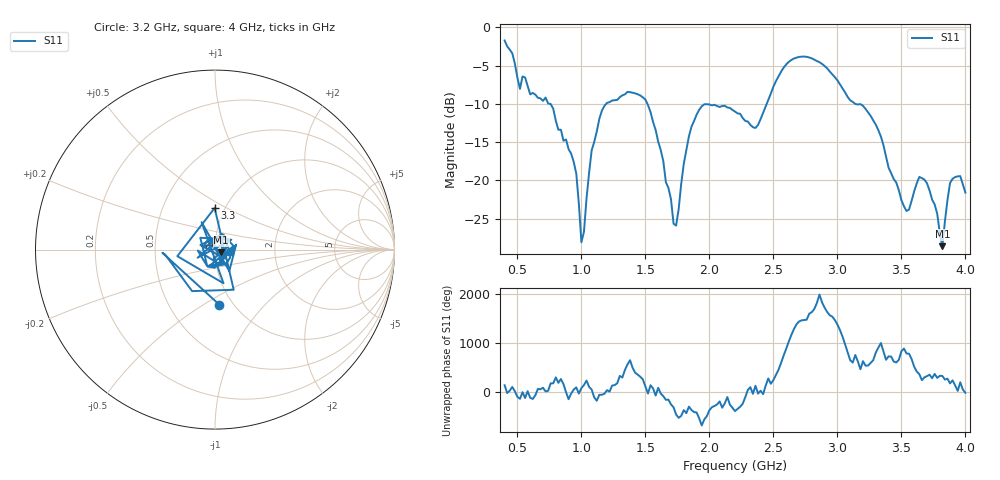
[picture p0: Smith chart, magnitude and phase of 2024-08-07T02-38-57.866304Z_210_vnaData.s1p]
!Created with skrf (http://scikit-rf.org).
# Hz S RI R 50.0
!freq ReS11 ImS11
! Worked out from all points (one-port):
!   181 points, 400 MHz to 4 GHz, reference 50 ohm
!   lowest |S11| = -28.6 dB at 3.82 GHz (marker M1), VSWR 1.08, Z = 53.5 - j1.66 ohm
!   |S11| at or under -10 dB: 758.6 MHz to 1.193 GHz (434 MHz wide, 44.5 % of centre); 1.516 GHz to 2.447 GHz (930.7 MHz wide, 47 % of centre); 3.141 GHz to end of sweep
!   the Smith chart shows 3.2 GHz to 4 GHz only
!   S11 on the Smith chart (normalised r, x): 3.2 GHz: 0.87, -0.59; 3.3 GHz: 0.89, +0.44; 4 GHz: 1.18, -0.03
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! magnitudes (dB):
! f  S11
! 400 MHz  -1.7
! 520 MHz  -8.0
! 720 MHz  -9.2
! 860 MHz  -14.8
! 960 MHz  -19.1
! 1 GHz  -28.1
! 1.08 GHz  -16.1
! 1.14 GHz  -11.9
! 1.3 GHz  -9.1
! 1.5 GHz  -9.4
! 1.64 GHz  -17.5
! 1.72 GHz  -25.7
! 1.76 GHz  -23.7
! 1.84 GHz  -14.2
! 1.92 GHz  -10.8
! 2.2 GHz  -11.0
! 2.36 GHz  -13.1
! 2.66 GHz  -4.1
! 2.88 GHz  -4.8
! 3.1 GHz  -9.5
! 3.2 GHz  -10.2
! 3.3 GHz  -12.7
! 3.56 GHz  -23.8
! 3.68 GHz  -19.9
! 3.78 GHz  -24.4
! 3.82 GHz  -28.6
! 3.88 GHz  -20.3
! 4 GHz  -21.6
